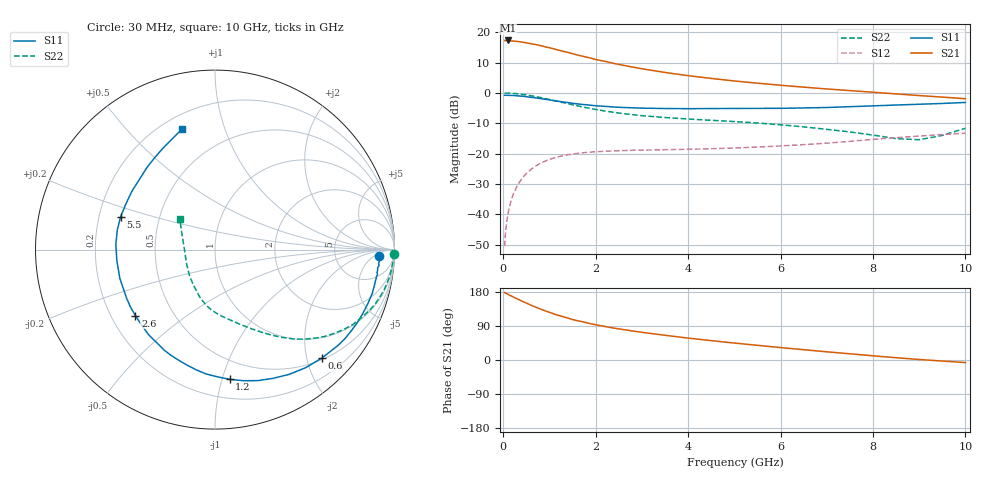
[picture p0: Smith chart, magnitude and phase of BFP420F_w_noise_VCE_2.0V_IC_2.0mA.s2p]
! Infineon Technologies  Discrete & RF Semiconductors
! BFP420F
! VCE =  2.0 V,  IC =  2.0 mA
! Common Emitter S-Parameters:  Sep 2011
# GHz  S  MA  R  50
!  f  S11  S21  S12  S22
! GHz  MAG  ANG  MAG  ANG  MAG  ANG  MAG  ANG
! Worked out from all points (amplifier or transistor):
!   54 points, 30 MHz to 10 GHz, reference 50 ohm
!   highest |S21| = 17.3 dB at 100 MHz (marker M1)
!   |S21| within 3 dB of that: start of sweep to 1.151 GHz
!   unconditionally stable (mu >= 1): 3.209 GHz to end of sweep
!   at 120 MHz: K = 0.02, MSG = 27.9 dB, |S12| = -38.6 dB
!   at 1.3 GHz: K = 0.32, MSG = 17.2 dB, |S12| = -20.7 dB
!   at 10 GHz: K = 1.57, MAG = 1.2 dB, |S12| = -13.3 dB
!   lowest NFmin = 0.81 dB at 450 MHz
!   S11 on the Smith chart (normalised r, x): 30 MHz: 19, -8; 600 MHz: 0.53, -2.28; 1.2 GHz: 0.34, -1.06; 2.6 GHz: 0.30, -0.33; 5.5 GHz: 0.29, +0.16; 10 GHz: 0.28, +0.73
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0.03  0.9167 -2.2  7.289 177.8  0.003 90.4  0.9951 -1.3
0.05  0.9189 -3.6  7.244 176.1  0.0052 92.6  0.9952 -2.2
0.07  0.9185 -5.5  7.299 175.7  0.0069 88.0  0.9943 -3.1
0.1  0.9113 -8.0  7.311 173.4  0.0099 85.6  0.9926 -4.4
0.2  0.9096 -15.6  7.168 167.6  0.0197 82.0  0.984 -8.9
0.35  0.8913 -27.2  6.974 158.6  0.0338 75.8  0.9602 -15.2
0.45  0.8773 -34.6  6.799 152.9  0.0428 71.7  0.9397 -19.2
0.6  0.8479 -45.5  6.46 144.7  0.0549 65.7  0.8994 -25.0
0.8  0.8086 -59.3  6.023 134.6  0.0691 58.7  0.8418 -32.1
1  0.768 -71.9  5.541 125.8  0.0805 52.5  0.7801 -38.3
1.2  0.7273 -83.6  5.054 117.5  0.0892 47.0  0.7199 -43.7
1.5  0.6765 -99.3  4.43 106.8  0.0987 40.3  0.6393 -50.5
1.7  0.6479 -108.5  4.05 101.3  0.1029 36.8  0.5918 -54.6
2  0.6149 -120.9  3.554 93.0  0.1075 32.6  0.5344 -60.0
2.6  0.5761 -140.4  2.849 80.3  0.1124 27.2  0.4561 -68.9
3.5  0.5539 -163.1  2.174 65.2  0.1162 23.7  0.3934 -79.4
4.5  0.553 177.1  1.733 51.1  0.1209 23.3  0.3542 -88.8
5.5  0.5569 160.7  1.448 38.7  0.1285 24.6  0.3199 -97.5
7  0.5756 136.6  1.163 21.6  0.1489 26.6  0.2517 -114.3
8.5  0.6323 117.8  0.964 6.0  0.1835 24.6  0.1769 -153.6
9  0.6511 113.3  0.905 1.4  0.195 22.9  0.1696 -178.5
10  0.6968 105.2  0.804 -6.7  0.2174 19.0  0.2617 138.8
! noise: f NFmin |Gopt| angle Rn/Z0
0.45  0.81  0.49  17  0.26
0.9  0.87  0.48  36  0.26
1.9  1.18  0.37  84  0.2
2.4  1.31  0.38  97  0.2
3.5  1.73  0.39  136  0.18
